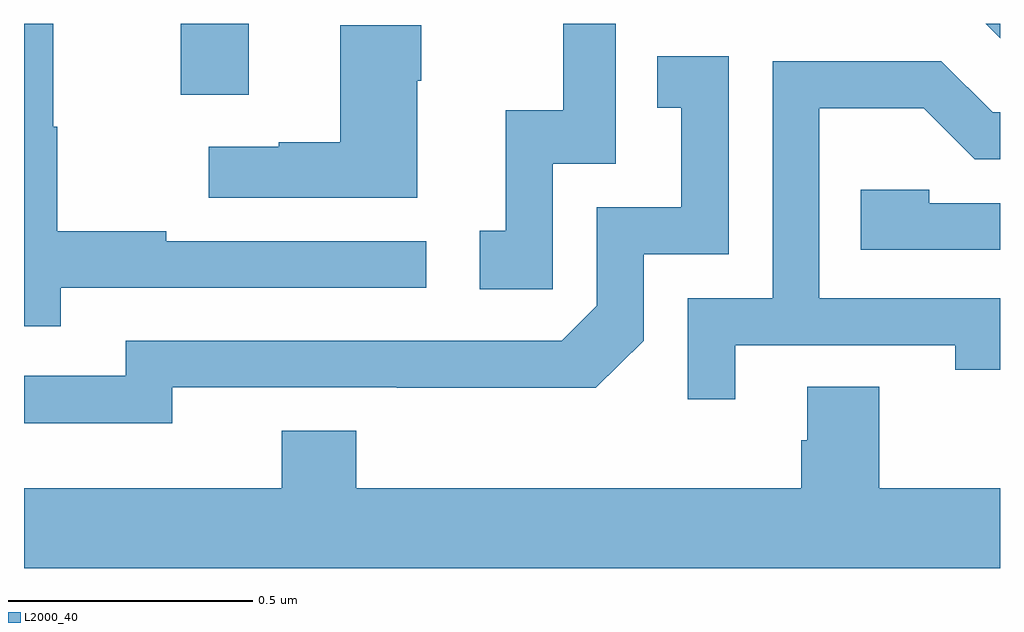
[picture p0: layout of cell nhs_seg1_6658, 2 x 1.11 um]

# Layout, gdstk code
import gdstk
lib = gdstk.Library(unit=1e-6, precision=1e-09)
def R(c, l, rs):  # rectangles x0, y0, x1, y1
    for r in rs: c.add(gdstk.rectangle(r[:2], r[2:], *l))
def P(c, l, *ps):  # polygons
    for p in ps: c.add(gdstk.Polygon(p, *l))
L2000_40 = (2000, 40)

nhs_seg1_6658 = lib.new_cell('nhs_seg1_6658')
R(nhs_seg1_6658, L2000_40, [(194.321,534.054,194.461,534.199)])
P(nhs_seg1_6658, L2000_40, [(195.084,533.913),(195.213,533.913),(195.213,534.199),(195.105,534.199),(195.105,534.022),(194.987,534.022),(194.987,533.775),(194.934,533.775),(194.934,533.655),(195.084,533.655)],
  [(196,534.199),(195.971,534.199),(196,534.17)],
  [(194.075,533.658),(194.824,533.658),(194.824,533.754),(194.291,533.754),(194.291,533.774),(194.068,533.774),(194.068,533.988),(194.06,533.988),(194.06,534.199),(194,534.199),(194,533.58),(194.075,533.58)],
  [(194.806,534.083),(194.814,534.083),(194.814,534.196),(194.648,534.196),(194.648,533.957),(194.522,533.957),(194.522,533.947),(194.379,533.947),(194.379,533.843),(194.806,533.843)],
  [(194.304,533.454),(194.764,533.454),(194.764,533.453),(195.172,533.453),(195.27,533.55),(195.27,533.727),(195.444,533.727),(195.444,534.133),(195.298,534.133),(195.298,534.027),(195.347,534.027),(195.347,533.823),(195.174,533.823),(195.174,533.622),(195.102,533.55),(194.208,533.55),(194.208,533.478),(194,533.478),(194,533.381),(194.304,533.381)],
  [(195.457,533.541),(195.908,533.541),(195.908,533.49),(196,533.49),(196,533.637),(195.63,533.637),(195.63,534.026),(195.844,534.026),(195.948,533.922),(196,533.922),(196,534.018),(195.985,534.018),(195.88,534.123),(195.534,534.123),(195.534,533.637),(195.36,533.637),(195.36,533.43),(195.457,533.43)],
  [(196,533.832),(195.855,533.832),(195.855,533.859),(195.715,533.859),(195.715,533.736),(196,533.736)],
  [(196,533.248),(195.753,533.248),(195.753,533.456),(195.605,533.456),(195.605,533.346),(195.593,533.346),(195.593,533.248),(194.681,533.248),(194.681,533.365),(194.528,533.365),(194.528,533.248),(194,533.248),(194,533.084),(196,533.084)])

lib.write_gds('nhs_seg1_6658.gds')
